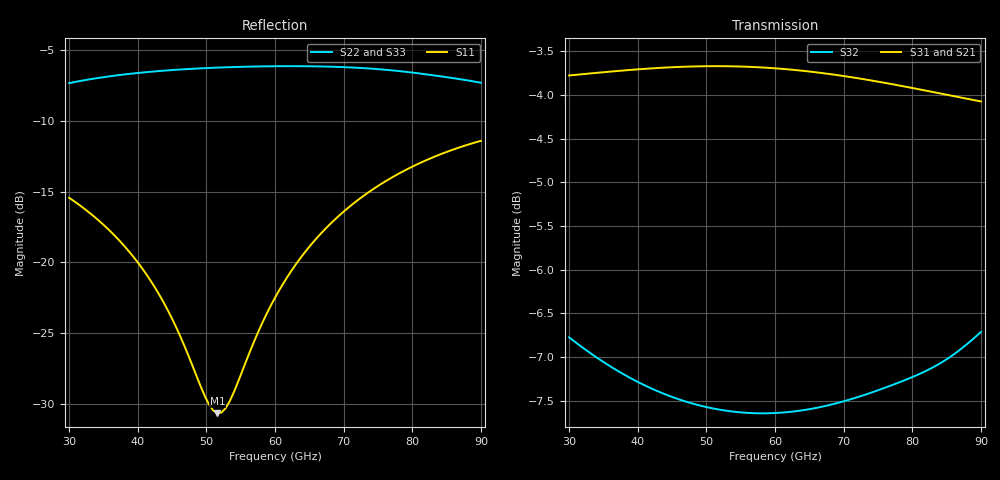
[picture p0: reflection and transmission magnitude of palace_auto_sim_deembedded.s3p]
! Created with skrf 1.11.0 (http://scikit-rf.org).
# GHz S DB R 50.0
!freq dBS11 angS11 dBS12 angS12 dBS13 angS13
! dBS21 angS21 dBS22 angS22 dBS23 angS23
! dBS31 angS31 dBS32 angS32 dBS33 angS33
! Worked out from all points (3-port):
!   101 points, 30 GHz to 90 GHz, reference 50 ohm
!   strongest paths, dB at 30 GHz, 45 GHz, 60 GHz, 75 GHz, 90 GHz:
!     S31: -3.8, -3.7, -3.7, -3.8, -4.1
!     S21: -3.8, -3.7, -3.7, -3.8, -4.1
!     S32: -6.8, -7.5, -7.6, -7.4, -6.7
!   lowest |S11| = -30.7 dB at 51.6 GHz (marker M1), VSWR 1.06, Z = 52.9 + j0.809 ohm
!   |S11| at or under -10 dB: start of sweep to end of sweep
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30  -15.44 126.3  -3.78 -45.3  -3.78 -45.3
    -3.78 -45.3  -7.33 43.4  -6.77 -100.8
    -3.78 -45.3  -6.77 -100.8  -7.34 43.4
36  -17.81 113.8  -3.74 -54.6  -3.73 -54.6
    -3.74 -54.6  -6.85 31.4  -7.11 -118.1
    -3.73 -54.6  -7.11 -118.1  -6.85 31.4
41.4  -20.96 99.5  -3.70 -63.0  -3.70 -63.0
      -3.70 -63.0  -6.55 21.9  -7.34 -133.3
      -3.70 -63.0  -7.34 -133.3  -6.56 21.9
51.6  -30.68 15.2  -3.67 -79.2  -3.67 -79.3
      -3.67 -79.2  -6.24 5.9  -7.60 -161.6
      -3.67 -79.3  -7.60 -161.6  -6.24 5.8
53.4  -29.83 -15.6  -3.68 -82.1  -3.67 -82.1
      -3.68 -82.1  -6.21 3.2  -7.62 -166.5
      -3.67 -82.1  -7.62 -166.5  -6.21 3.2
60  -22.51 -68.0  -3.70 -92.7  -3.70 -92.7
    -3.70 -92.7  -6.14 -6.5  -7.64 175.3
    -3.70 -92.7  -7.64 175.3  -6.14 -6.6
65.4  -18.67 -84.9  -3.74 -101.3  -3.74 -101.4
      -3.74 -101.3  -6.15 -14.6  -7.59 160.3
      -3.74 -101.4  -7.59 160.3  -6.15 -14.7
72  -15.63 -99.6  -3.81 -111.8  -3.81 -111.8
    -3.81 -111.8  -6.25 -25.1  -7.46 141.7
    -3.81 -111.8  -7.46 141.7  -6.25 -25.1
81  -13.01 -116.1  -3.93 -125.8  -3.94 -125.8
    -3.93 -125.8  -6.65 -40.8  -7.20 116.0
    -3.94 -125.8  -7.20 116.0  -6.64 -40.9
90  -11.42 -130.8  -4.07 -139.5  -4.08 -139.5
    -4.07 -139.5  -7.31 -59.2  -6.71 90.0
    -4.08 -139.5  -6.71 90.0  -7.30 -59.3
